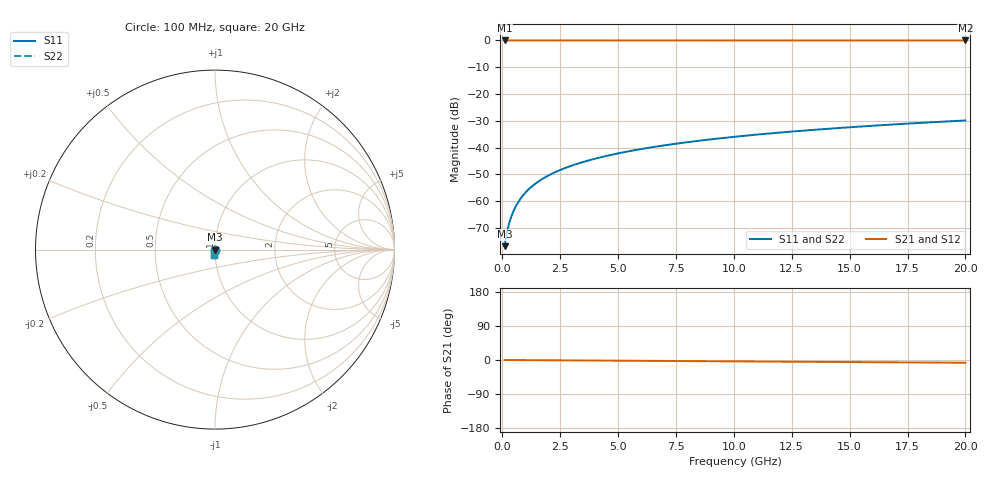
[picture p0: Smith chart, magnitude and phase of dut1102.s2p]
! Touchstone file exported from HFSS 2026.1.0
!  File:  C:/ffzhzh/LocalFiles/Ansys_Project_Files/temp_train_TSV_1102_1783190538_18472.aedt
!  Generated:  02:43:35 AM Jul  5, 2026
!  Design:  TSV
!  Project:  temp_train_TSV_1102_1783190538_18472
! Variables:
!  h_bsmrdl = 2um
!  h_ox = 20um
!  h_rdl = 5um
!  h_sub = 70.78um
!  h_tmrdl = 5um
!  h_tsv = 70.78um
!  h_via = 3um
!  l_bsmrdl = 300um
!  l_sub = 426.96um
!  l_tmrdl = 200um
!  m_sub = 200um
!  pitch = 42.63um
!  r_tsv = 13.48um
!  s_tmrdl = 10um
!  w_bsmrdl = 18um
!  w_sub = 500um
!  w_tmrdl = 12um
!  x_tsv_center1 = 206um
!  x_tsv_center2 = 524um
!  x_tsv_center3 = 736um
!  x_tsv_center4 = 1054um
!  x_tsv_center5 = 1266um
!  x_tsv_center6 = 1584um
# GHz S MA R 50.000000
! Terminal data exported
! Port[1] = TSV1_1_T1
! Port[2] = TSV1_1_T2
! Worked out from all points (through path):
!   200 points, 100 MHz to 20 GHz, reference 50 ohm
!   highest |S21| = 0.00 dB at 100 MHz (marker M1); lowest = 0.0 dB at 20 GHz (marker M2)
!   group delay of S21, straight-line fit = 1.01 ps
!   lowest |S11| = -76.8 dB at 100 MHz (marker M3), VSWR 1.00, Z = 50 - j0.0121 ohm
!   |S11| at or under -10 dB: start of sweep to end of sweep
!   |S22| runs from -76.8 to -29.9 dB; largest |S21 - S12| = 4.5e-15
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0.1  0.0001443 -56.9  0.9999 -0.0  0.9999 -0.0  0.0001443 -56.9
! Gamma 0 0 0 0
! Port Impedance 50 0 50 0
0.2  0.0002617 -69.5  0.9999 -0.1  0.9999 -0.1  0.0002617 -69.5
0.3  0.0003911 -73.7  0.9999 -0.1  0.9999 -0.1  0.0003911 -73.7
0.4  0.0005288 -75.6  0.9999 -0.2  0.9999 -0.2  0.0005288 -75.6
0.5  0.0006729 -76.9  0.9998 -0.2  0.9998 -0.2  0.0006729 -76.9
0.7  0.0009744 -78.6  0.9998 -0.3  0.9998 -0.3  0.0009744 -78.6
0.8  0.001129 -79.4  0.9998 -0.3  0.9998 -0.3  0.001129 -79.4
1  0.001443 -80.6  0.9998 -0.4  0.9998 -0.4  0.001443 -80.6
1.2  0.001758 -81.7  0.9997 -0.4  0.9997 -0.4  0.001758 -81.7
1.4  0.002074 -82.6  0.9997 -0.5  0.9997 -0.5  0.002074 -82.6
1.7  0.002549 -83.6  0.9997 -0.6  0.9997 -0.6  0.002549 -83.6
2  0.003022 -84.5  0.9997 -0.7  0.9997 -0.7  0.003022 -84.5
2.7  0.004128 -85.8  0.9996 -1.0  0.9996 -1.0  0.004128 -85.8
3.5  0.005395 -86.8  0.9996 -1.3  0.9996 -1.3  0.005395 -86.8
4.2  0.006508 -87.5  0.9995 -1.5  0.9995 -1.5  0.006508 -87.5
5  0.007786 -88.1  0.9995 -1.8  0.9995 -1.8  0.007786 -88.1
6.8  0.01068 -89.3  0.9994 -2.5  0.9994 -2.5  0.01068 -89.3
8.3  0.0131 -90.2  0.9993 -3.0  0.9993 -3.0  0.0131 -90.2
10.1  0.01601 -91.1  0.9992 -3.7  0.9992 -3.7  0.01601 -91.1
13.4  0.02136 -92.7  0.9989 -4.9  0.9989 -4.9  0.02136 -92.7
16.7  0.02671 -94.1  0.9987 -6.1  0.9987 -6.1  0.02671 -94.1
20  0.03207 -95.4  0.9985 -7.3  0.9985 -7.3  0.03207 -95.4
